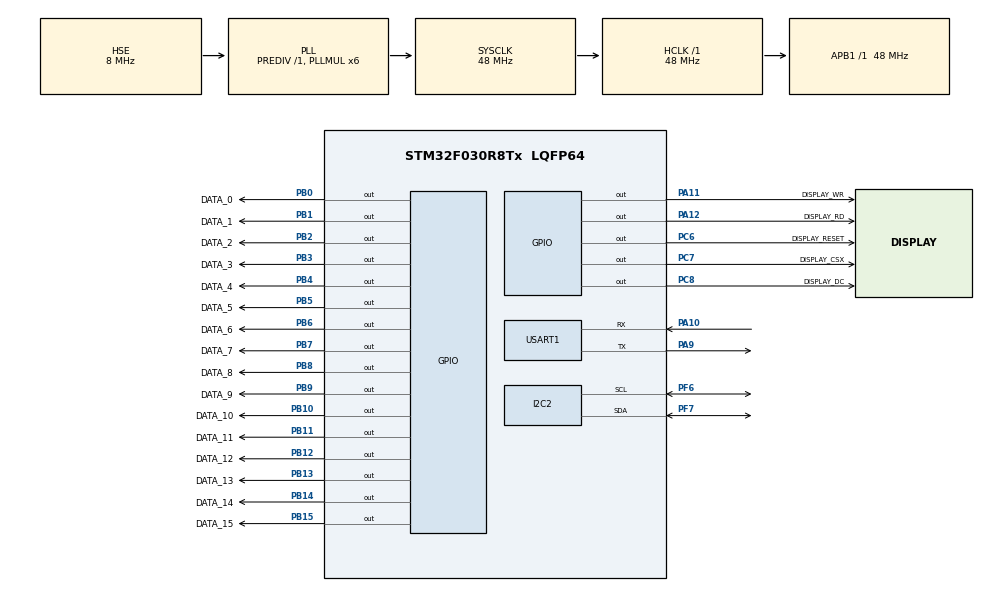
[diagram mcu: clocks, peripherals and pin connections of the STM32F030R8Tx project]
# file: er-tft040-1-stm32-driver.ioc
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I2C2.Timing=0x20303E5D
Mcu.Family=STM32F0
Mcu.Name=STM32F030R8Tx
Mcu.Package=LQFP64
PA10.Mode=Asynchronous
PA10.Signal=USART1_RX
PA11.GPIO_Label=DISPLAY_WR
PA11.Signal=GPIO_Output
PA12.GPIO_Label=DISPLAY_RD
PA12.Signal=GPIO_Output
PA13.Mode=Serial_Wire
PA13.Signal=SYS_SWDIO
PA14.Mode=Serial_Wire
PA14.Signal=SYS_SWCLK
PA9.Mode=Asynchronous
PA9.Signal=USART1_TX
PB0.GPIO_Label=DATA_0
PB0.Signal=GPIO_Output
PB1.GPIO_Label=DATA_1
PB1.Signal=GPIO_Output
PB10.GPIO_Label=DATA_10
PB10.Signal=GPIO_Output
PB11.GPIO_Label=DATA_11
PB11.Signal=GPIO_Output
PB12.GPIO_Label=DATA_12
PB12.Signal=GPIO_Output
PB13.GPIO_Label=DATA_13
PB13.Signal=GPIO_Output
PB14.GPIO_Label=DATA_14
PB14.Signal=GPIO_Output
PB15.GPIO_Label=DATA_15
PB15.Signal=GPIO_Output
PB2.GPIO_Label=DATA_2
PB2.Signal=GPIO_Output
PB3.GPIO_Label=DATA_3
PB3.Signal=GPIO_Output
PB4.GPIO_Label=DATA_4
PB4.Signal=GPIO_Output
PB5.GPIO_Label=DATA_5
PB5.Signal=GPIO_Output
PB6.GPIO_Label=DATA_6
PB6.Signal=GPIO_Output
PB7.GPIO_Label=DATA_7
PB7.Signal=GPIO_Output
PB8.GPIO_Label=DATA_8
PB8.Signal=GPIO_Output
PB9.GPIO_Label=DATA_9
PB9.Signal=GPIO_Output
PC6.GPIO_Label=DISPLAY_RESET
PC6.Signal=GPIO_Output
PC7.GPIO_Label=DISPLAY_CSX
PC7.Signal=GPIO_Output
PC8.GPIO_Label=DISPLAY_DC
PC8.Signal=GPIO_Output
PF0-OSC_IN.Mode=HSE-External-Oscillator
PF0-OSC_IN.Signal=RCC_OSC_IN
PF1-OSC_OUT.Mode=HSE-External-Oscillator
PF1-OSC_OUT.Signal=RCC_OSC_OUT
PF6.Mode=I2C
PF6.Signal=I2C2_SCL
PF7.Mode=I2C
PF7.Signal=I2C2_SDA
ProjectManager.HeapSize=0x200
ProjectManager.StackSize=0x400
ProjectManager.TargetToolchain=EWARM V8.32
RCC.AHBFreq_Value=48000000
RCC.APB1Freq_Value=48000000
RCC.APB1TimFreq_Value=48000000
RCC.HCLKFreq_Value=48000000
RCC.PLLMUL=RCC_PLL_MUL6
RCC.PLLSourceVirtual=RCC_PLLSOURCE_HSE
RCC.SYSCLKFreq_VALUE=48000000
RCC.SYSCLKSource=RCC_SYSCLKSOURCE_PLLCLK
USART1.VirtualMode-Asynchronous=VM_ASYNC
board=custom

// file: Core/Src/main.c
/* USER CODE BEGIN Header */
/**
 ******************************************************************************
 * @file           : main.c
 * @brief          : Main program body
 ******************************************************************************
 * @attention
 *
 * Copyright (c) 2023 STMicroelectronics.
 * All rights reserved.
 *
 * This software is licensed under terms that can be found in the LICENSE file
 * in the root directory of this software component.
 * If no LICENSE file comes with this software, it is provided AS-IS.
 *
 ******************************************************************************
 */
/* USER CODE END Header */
#include "main.h"

/* USER CODE BEGIN Includes */
#include "er_tft040.h"
#include "font_6_12.h"
#include "stdio.h"
// #include "test_pic.h"
/* USER CODE END Includes */

I2C_HandleTypeDef hi2c2;

UART_HandleTypeDef huart1;

void SystemClock_Config(void);
static void MX_GPIO_Init(void);
static void MX_I2C2_Init(void);
static void MX_USART1_UART_Init(void);

/* USER CODE BEGIN 0 */

void ER_TFT040_textTest() {
    ER_TFT040_textProps text1 = {.font = fontData,
                                 .text = "Welcome to the 4 inch TFT LCD module!",
                                 .posX = 30,
                                 .posY = 5,
                                 .fontSize = 1,
                                 .fontColor = CONVERT_24BIT_COLOR(0xFF0000),
                                 .backgroundColor = CONVERT_24BIT_COLOR(0xFFFFFF)};

    ER_TFT040_textProps text2 = {.font = fontData,
                                 .text = "Font size 1",
                                 .posX = 10,
                                 .posY = 20,
                                 .fontSize = 1,
                                 .fontColor = CONVERT_24BIT_COLOR(0xFFFFFF),
                                 .backgroundColor = CONVERT_24BIT_COLOR(0xFF00FF)};
    ER_TFT040_textProps text3 = {.font = fontData,
                                 .text = "Font size 2",
                                 .posX = 20,
                                 .posY = 32,
                                 .fontSize = 2,
                                 .fontColor = CONVERT_24BIT_COLOR(0xFFFFFF),
                                 .backgroundColor = CONVERT_24BIT_COLOR(0x0000FF)};
    ER_TFT040_textProps text4 = {.font = fontData,
                                 .text = "Font size 3",
                                 .posX = 30,
                                 .posY = 56,
                                 .fontSize = 3,
                                 .fontColor = CONVERT_24BIT_COLOR(0xFFFFFF),
                                 .backgroundColor = CONVERT_24BIT_COLOR(0x00FF00)};
    ER_TFT040_textProps text5 = {.font = fontData,
                                 .text = "Font size 4",
                                 .posX = 40,
                                 .posY = 92,
                                 .fontSize = 4,
                                 .fontColor = CONVERT_24BIT_COLOR(0xFFFFFF),
                                 .backgroundColor = CONVERT_24BIT_COLOR(0xFF0000)};

    ER_TFT040_drawText(&text1);
    ER_TFT040_drawText(&text2);
    ER_TFT040_drawText(&text3);
    ER_TFT040_drawText(&text4);
    ER_TFT040_drawText(&text5);
}

/* USER CODE END 0 */

int main(void) {

    /* MCU Configuration--------------------------------------------------------*/

    /* Reset of all peripherals, Initializes the Flash interface and the Systick. */
    HAL_Init();

    /* Configure the system clock */
    SystemClock_Config();

    /* Initialize all configured peripherals */
    MX_GPIO_Init();
    MX_I2C2_Init();
    MX_USART1_UART_Init();

    /* Infinite loop */
    /* USER CODE BEGIN WHILE */
    ER_TFT040_init();

    ER_TFT040_clearLCD(CONVERT_24BIT_COLOR(0xFF0000));
    ER_TFT040_clearLCD(CONVERT_24BIT_COLOR(0x00FF00));
    ER_TFT040_clearLCD(CONVERT_24BIT_COLOR(0x0000FF));
    ER_TFT040_clearLCD(CONVERT_24BIT_COLOR(0x222222));

    ER_TFT040_drawPixel(239, 400, CONVERT_24BIT_COLOR(0xFF0000));
    ER_TFT040_drawPixel(240, 400, CONVERT_24BIT_COLOR(0xFF0000));
    ER_TFT040_drawPixel(241, 400, CONVERT_24BIT_COLOR(0xFF0000));
    ER_TFT040_drawPixel(240, 399, CONVERT_24BIT_COLOR(0xFF0000));
    ER_TFT040_drawPixel(240, 401, CONVERT_24BIT_COLOR(0xFF0000));
    ER_TFT040_drawLine(10, 400, 200, 700, CONVERT_24BIT_COLOR(0x00FF00));
    ER_TFT040_fillRectangle(320, 620, 160, 180, CONVERT_24BIT_COLOR(0xFF0000));
    ER_TFT040_drawRectangle(300, 600, 160, 180, CONVERT_24BIT_COLOR(0x0000FF));
    ER_TFT040_drawCircle(240, 400, 166, CONVERT_24BIT_COLOR(0xFF0000));
    ER_TFT040_fillCircle(240, 400, 64, CONVERT_24BIT_COLOR(0x00FF00));
    ER_TFT040_textTest();

    // ER_TFT040_drawPicture(200, 120, 200, 120, PIC);

    char textBuffer[16];
    uint16_t counter = 0;
    sprintf(textBuffer, " Counter: %u", counter);

    ER_TFT040_textProps counterText = {.font = fontData,
                                       .text = textBuffer,
                                       .posX = 10,
                                       .posY = 200,
                                       .fontSize = 2,
                                       .fontColor = CONVERT_24BIT_COLOR(0xFF0000),
                                       .backgroundColor = CONVERT_24BIT_COLOR(0xFFFFFF)};

    while (1) {
        /* USER CODE END WHILE */

        /* USER CODE BEGIN 3 */

        sprintf(textBuffer, " Counter: %u", counter++);
        counterText.text = textBuffer;

        ER_TFT040_drawText(&counterText);

        HAL_Delay(100);
    }
    /* USER CODE END 3 */
}

void SystemClock_Config(void) {
    RCC_OscInitTypeDef RCC_OscInitStruct = {0};
    RCC_ClkInitTypeDef RCC_ClkInitStruct = {0};
    RCC_PeriphCLKInitTypeDef PeriphClkInit = {0};

    /** Initializes the RCC Oscillators according to the specified parameters
     * in the RCC_OscInitTypeDef structure.
     */
    RCC_OscInitStruct.OscillatorType = RCC_OSCILLATORTYPE_HSE;
    RCC_OscInitStruct.HSEState = RCC_HSE_ON;
    RCC_OscInitStruct.PLL.PLLState = RCC_PLL_ON;
    RCC_OscInitStruct.PLL.PLLSource = RCC_PLLSOURCE_HSE;
    RCC_OscInitStruct.PLL.PLLMUL = RCC_PLL_MUL6;
    RCC_OscInitStruct.PLL.PREDIV = RCC_PREDIV_DIV1;
    if (HAL_RCC_OscConfig(&RCC_OscInitStruct) != HAL_OK) {
        Error_Handler();
    }

    /** Initializes the CPU, AHB and APB buses clocks
     */
    RCC_ClkInitStruct.ClockType = RCC_CLOCKTYPE_HCLK | RCC_CLOCKTYPE_SYSCLK | RCC_CLOCKTYPE_PCLK1;
    RCC_ClkInitStruct.SYSCLKSource = RCC_SYSCLKSOURCE_PLLCLK;
    RCC_ClkInitStruct.AHBCLKDivider = RCC_SYSCLK_DIV1;
    RCC_ClkInitStruct.APB1CLKDivider = RCC_HCLK_DIV1;

    if (HAL_RCC_ClockConfig(&RCC_ClkInitStruct, FLASH_LATENCY_1) != HAL_OK) {
        Error_Handler();
    }
    PeriphClkInit.PeriphClockSelection = RCC_PERIPHCLK_USART1;
    PeriphClkInit.Usart1ClockSelection = RCC_USART1CLKSOURCE_PCLK1;
    if (HAL_RCCEx_PeriphCLKConfig(&PeriphClkInit) != HAL_OK) {
        Error_Handler();
    }
}

static void MX_I2C2_Init(void) {

    hi2c2.Instance = I2C2;
    hi2c2.Init.Timing = 0x20303E5D;
    hi2c2.Init.OwnAddress1 = 0;
    hi2c2.Init.AddressingMode = I2C_ADDRESSINGMODE_7BIT;
    hi2c2.Init.DualAddressMode = I2C_DUALADDRESS_DISABLE;
    hi2c2.Init.OwnAddress2 = 0;
    hi2c2.Init.OwnAddress2Masks = I2C_OA2_NOMASK;
    hi2c2.Init.GeneralCallMode = I2C_GENERALCALL_DISABLE;
    hi2c2.Init.NoStretchMode = I2C_NOSTRETCH_DISABLE;
    if (HAL_I2C_Init(&hi2c2) != HAL_OK) {
        Error_Handler();
    }

    /** Configure Analogue filter
     */
    if (HAL_I2CEx_ConfigAnalogFilter(&hi2c2, I2C_ANALOGFILTER_ENABLE) != HAL_OK) {
        Error_Handler();
    }

    /** Configure Digital filter
     */
    if (HAL_I2CEx_ConfigDigitalFilter(&hi2c2, 0) != HAL_OK) {
        Error_Handler();
    }
}

static void MX_USART1_UART_Init(void) {

    huart1.Instance = USART1;
    huart1.Init.BaudRate = 38400;
    huart1.Init.WordLength = UART_WORDLENGTH_8B;
    huart1.Init.StopBits = UART_STOPBITS_1;
    huart1.Init.Parity = UART_PARITY_NONE;
    huart1.Init.Mode = UART_MODE_TX_RX;
    huart1.Init.HwFlowCtl = UART_HWCONTROL_NONE;
    huart1.Init.OverSampling = UART_OVERSAMPLING_16;
    huart1.Init.OneBitSampling = UART_ONE_BIT_SAMPLE_DISABLE;
    huart1.AdvancedInit.AdvFeatureInit = UART_ADVFEATURE_NO_INIT;
    if (HAL_UART_Init(&huart1) != HAL_OK) {
        Error_Handler();
    }
}

static void MX_GPIO_Init(void) {
    GPIO_InitTypeDef GPIO_InitStruct = {0};

    /* GPIO Ports Clock Enable */
    __HAL_RCC_GPIOF_CLK_ENABLE();
    __HAL_RCC_GPIOB_CLK_ENABLE();
    __HAL_RCC_GPIOC_CLK_ENABLE();
    __HAL_RCC_GPIOA_CLK_ENABLE();

    /*Configure GPIO pin Output Level */
    HAL_GPIO_WritePin(GPIOB,
                      DATA_0_Pin | DATA_1_Pin | DATA_2_Pin | DATA_10_Pin | DATA_11_Pin | DATA_12_Pin | DATA_13_Pin |
                          DATA_14_Pin | DATA_15_Pin | DATA_3_Pin | DATA_4_Pin | DATA_5_Pin | DATA_6_Pin | DATA_7_Pin |
                          DATA_8_Pin | DATA_9_Pin,
                      GPIO_PIN_RESET);

    /*Configure GPIO pin Output Level */
    HAL_GPIO_WritePin(GPIOC, DISPLAY_RESET_Pin | DISPLAY_CSX_Pin | DISPLAY_DC_Pin, GPIO_PIN_RESET);

    /*Configure GPIO pin Output Level */
    HAL_GPIO_WritePin(GPIOA, DISPLAY_WR_Pin | DISPLAY_RD_Pin, GPIO_PIN_RESET);

    /*Configure GPIO pins : DATA_0_Pin DATA_1_Pin DATA_2_Pin DATA_10_Pin
                             DATA_11_Pin DATA_12_Pin DATA_13_Pin DATA_14_Pin
                             DATA_15_Pin DATA_3_Pin DATA_4_Pin DATA_5_Pin
                             DATA_6_Pin DATA_7_Pin DATA_8_Pin DATA_9_Pin */
    GPIO_InitStruct.Pin = DATA_0_Pin | DATA_1_Pin | DATA_2_Pin | DATA_10_Pin | DATA_11_Pin | DATA_12_Pin | DATA_13_Pin |
                          DATA_14_Pin | DATA_15_Pin | DATA_3_Pin | DATA_4_Pin | DATA_5_Pin | DATA_6_Pin | DATA_7_Pin |
                          DATA_8_Pin | DATA_9_Pin;
    GPIO_InitStruct.Mode = GPIO_MODE_OUTPUT_PP;
    GPIO_InitStruct.Pull = GPIO_NOPULL;
    GPIO_InitStruct.Speed = GPIO_SPEED_FREQ_LOW;
    HAL_GPIO_Init(GPIOB, &GPIO_InitStruct);

    /*Configure GPIO pins : DISPLAY_RESET_Pin DISPLAY_CSX_Pin DISPLAY_DC_Pin */
    GPIO_InitStruct.Pin = DISPLAY_RESET_Pin | DISPLAY_CSX_Pin | DISPLAY_DC_Pin;
    GPIO_InitStruct.Mode = GPIO_MODE_OUTPUT_PP;
    GPIO_InitStruct.Pull = GPIO_NOPULL;
    GPIO_InitStruct.Speed = GPIO_SPEED_FREQ_LOW;
    HAL_GPIO_Init(GPIOC, &GPIO_InitStruct);

    /*Configure GPIO pins : DISPLAY_WR_Pin DISPLAY_RD_Pin */
    GPIO_InitStruct.Pin = DISPLAY_WR_Pin | DISPLAY_RD_Pin;
    GPIO_InitStruct.Mode = GPIO_MODE_OUTPUT_PP;
    GPIO_InitStruct.Pull = GPIO_NOPULL;
    GPIO_InitStruct.Speed = GPIO_SPEED_FREQ_LOW;
    HAL_GPIO_Init(GPIOA, &GPIO_InitStruct);

}

void Error_Handler(void) {
    __disable_irq();
    while (1) {
    }
}
